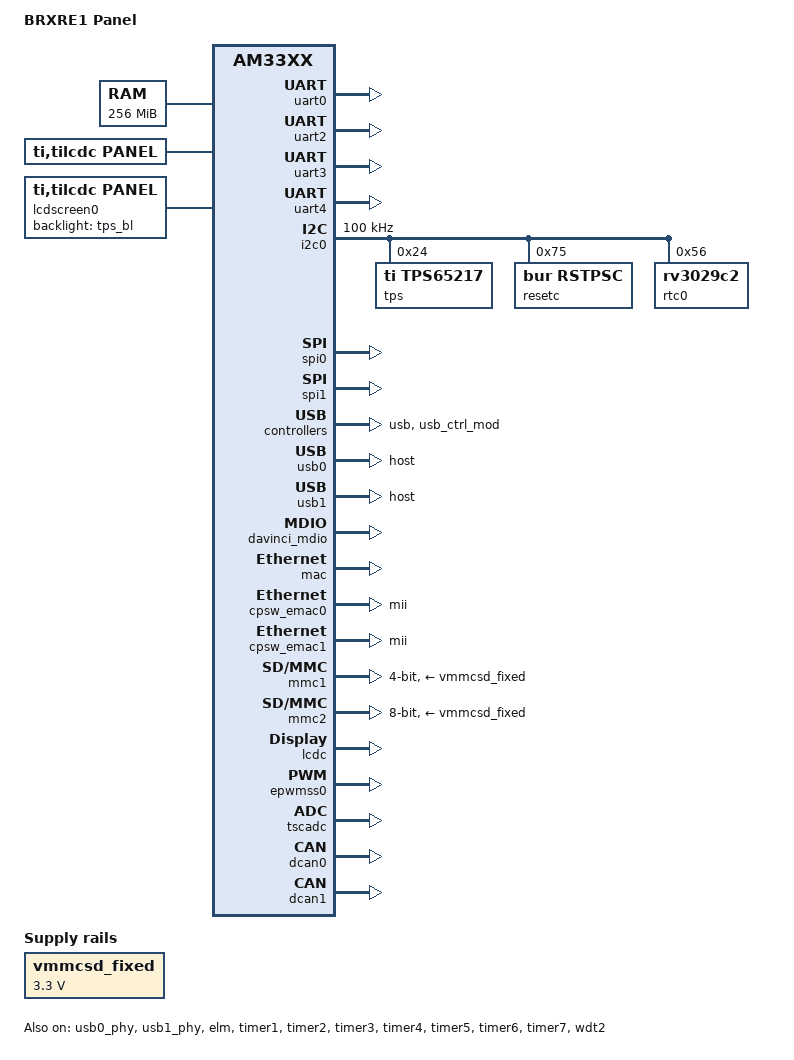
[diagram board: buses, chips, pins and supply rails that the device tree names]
// SPDX-License-Identifier: GPL-2.0+
/*
 * Copyright (C) 2019 B&R Industrial Automation GmbH
 * http://www.br-automation.com
 *
 */
/dts-v1/;

#include "am33xx.dtsi"

/ {
	model = "BRXRE1 Panel";
	compatible = "ti,am33xx";

	fset: factory-settings {
		bl-version	= "                                ";
		order-no	= "                                ";
		cpu-order-no	= "                                ";
		hw-revision	= "                                ";
		serial-no	= <0>;
		device-id	= <0xE681>;
		parent-id	= <0xE681>;
		hw-variant	= <0x3>;
		hw-platform	= <0x0>;
		fram-offset	= <0x1000>;
		fram-size	= <0x3000>;
		cache-disable	= <0x0>;
		cpu-clock	= <0x0>;
	};
	chosen {
		#address-cells = <1>;
		#size-cells = <1>;

		bootargs = "console=ttyO0,115200 earlyprintk";
		stdout-path = &uart0;

		framebuffer: framebuffer@8fbe0000 {
			display = <&lcdscreen0>;
			compatible = "simple-framebuffer";
			status = "okay";
			reg = <0x8fbef000 (1024 * 600 * 4)>;
			width = <1024>;
			height = <600>;
			stride = <(1024 * 4)>;
			format = "a8r8g8b8";
			clocks = <&dpll_disp_m2_ck>, <&dpll_per_m2_ck>;
		};
	};

	aliases {
		fset = &fset;
		mmc = &mmc2;
		spi0 = &spi0;
		spi1 = &spi1;
		touch0 = &burtouch0;
		screen0 = &lcdscreen0;
	};

	memory {
		device_type = "memory";
		reg = <0x80000000 0x10000000>; /* 256 MB */
	};

	panel {
		compatible = "ti,tilcdc,panel";
		status = "okay";
	};

	vmmcsd_fixed: fixedregulator@0 {
		compatible = "regulator-fixed";
		regulator-name = "vmmcsd_fixed";
		regulator-min-microvolt = <3300000>;
		regulator-max-microvolt = <3300000>;
	};

	lcdscreen0: lcdscreen@0 {
		status = "okay";
		compatible = "ti,tilcdc,panel";

		backlight = <&tps_bl>;

		panel-info {
			ac-bias		= <255>;
			ac-bias-intrpt	= <0>;
			dma-burst-sz	= <16>;
			bpp		= <32>;
			fdd		= <0x80>;
			sync-edge	= <0>;
			sync-ctrl	= <1>;
			raster-order	= <0>;
			fifo-th		= <0>;
		};

		display-timings {
			native-mode = <&timing0>;
			timing0: lcd {
				clock-frequency	= <9142857>;
				hactive		= <480>;
				vactive		= <272>;
				hfront-porch	= <8>;
				hback-porch	= <43>;
				hsync-len	= <2>;
				vfront-porch	= <4>;
				vback-porch	= <2>;
				vsync-len	= <10>;
				hsync-active	= <1>;
				vsync-active	= <1>;
				pupdelay	= <10>;
				pondelay	= <10>;
			};
		};
	};
};

&uart0 {		/* console uart */
	u-boot,dm-spl;
	status = "okay";
};

&uart2 {
	status = "okay";
};

&uart3 {
	status = "okay";
};

&uart4 {
	status = "okay";
};

&i2c0 {
	u-boot,dm-spl;
	status = "okay";
	clock-frequency = <100000>;

	tps: tps@24 {		/* PMIC controller */
		u-boot,dm-spl;
		reg = <0x24>;
		compatible = "ti,tps65217";

		tps_bl: backlight {
			compatible = "ti,tps65217-bl";
			isel = <1>;	/* 1 - ISET1, 2 ISET2 */
			fdim = <1000>;	/* TPS65217_BL_FDIM_1kHZ */
			default-brightness = <50>;
		};
	};
	resetc: rstpsc@75 { /* reset controller */
		compatible = "bur,rstpsc";
		reg = <0x75>;

		cooling-min-state = <0>;
		cooling-max-state = <1>;	/* reset gets fired */
		#cooling-cells = <2>;		/* min followed by max */
	};
	rtc0: rv3029c2@56 {
		status = "okay";
		#thermal-sensor-cells = <0>;
		compatible = "rv3029c2";
		reg = <0x56>;
	};
};

&spi0 {
	status = "okay";
};

&spi1 {
	status = "okay";
};

&edma {
	status = "okay";
};

&cppi41dma  {
	status = "okay";
};

&usb {
	status = "okay";
};

&usb_ctrl_mod {
	status = "okay";
};

&usb0_phy {
	status = "okay";
};

&usb1_phy {
	status = "okay";
};

&usb0 {
	status = "okay";
	dr_mode = "host";
};

&usb1 {
	status = "okay";
	dr_mode = "host";
};

&davinci_mdio {
	status = "okay";
};

&mac {
	status = "okay";
};

&cpsw_emac0 {
	phy_id = <&davinci_mdio>, <1>;
	phy-mode = "mii";
};

&cpsw_emac1 {
	phy_id = <&davinci_mdio>, <2>;
	phy-mode = "mii";
};

&mmc1 {
	u-boot,dm-pre-reloc;
	vmmc-supply = <&vmmcsd_fixed>;
	bus-width = <0x4>;
	ti,non-removable;
	ti,needs-special-hs-handling;
	ti,vcc-aux-disable-is-sleep;
	status = "okay";
};

&mmc2 {
	u-boot,dm-pre-reloc;
	vmmc-supply = <&vmmcsd_fixed>;
	bus-width = <0x8>;
	ti,non-removable;
	ti,needs-special-hs-handling;
	ti,vcc-aux-disable-is-sleep;
	status = "okay";
};

&lcdc {
	status = "okay";
	ti,no-reset-on-init;
	ti,no-idle-on-init;
};

&elm {
	status = "okay";
};

&sham {
	status = "okay";
};

&aes {
	status = "okay";
};

&gpio0 {
	u-boot,dm-spl;
	ti,no-reset-on-init;
};

&gpio1 {
	u-boot,dm-spl;
	ti,no-reset-on-init;
};

&gpio2 {
	u-boot,dm-spl;
	ti,no-reset-on-init;
};

&gpio3 {
	u-boot,dm-spl;
	ti,no-reset-on-init;
};

&timer1 {		/* today unused */
	status = "okay";
	ti,no-reset-on-init;
	ti,no-idle-on-init;
};

&timer2 {		/* used for vxworks primary timer device */
	status = "okay";
	ti,no-reset-on-init;
	ti,no-idle-on-init;
};

&timer3 {		/* used sysdelay and hal tsc counter*/
	status = "okay";
	ti,no-reset-on-init;
	ti,no-idle-on-init;
};

&timer4 {		/* used for PWM beeper */
	status = "okay";
	ti,no-reset-on-init;
	ti,no-idle-on-init;
};

&timer5 {		/* used for PWM backlight */
	status = "okay";
	ti,no-reset-on-init;
	ti,no-idle-on-init;
};

&timer6 {		/* used for cpsw end device */
	status = "okay";
	ti,no-reset-on-init;
	ti,no-idle-on-init;
};

&timer7 {		/* used for cpsw end device */
	status = "okay";
	ti,no-reset-on-init;
	ti,no-idle-on-init;
};

&wdt2 {
	status = "okay";
	ti,no-reset-on-init;
	ti,no-idle-on-init;
};

&epwmss0 {
	status = "okay";
};

&tscadc {
	status = "okay";

	tsc {
		burtouch0: burtouch@0 {
			status = "okay";
			compatible = "bur,DdVxSfTouchXXX";
			bur,hwtree = "IF7";
			bur,KX0 = <0x0>;
			bur,KX1 = <0x0>;
			bur,KX2 = <0x0>;
			bur,KY0 = <0x0>;
			bur,KY1 = <0x0>;
			bur,KY2 = <0x0>;
		};
	};
};

&dcan0 {
	status = "okay";
};

&dcan1 {
	status = "okay";
};

&sham {
	status = "disabled";
};

&aes {
	status = "disabled";
};

&rng {
	status = "disabled";
};
